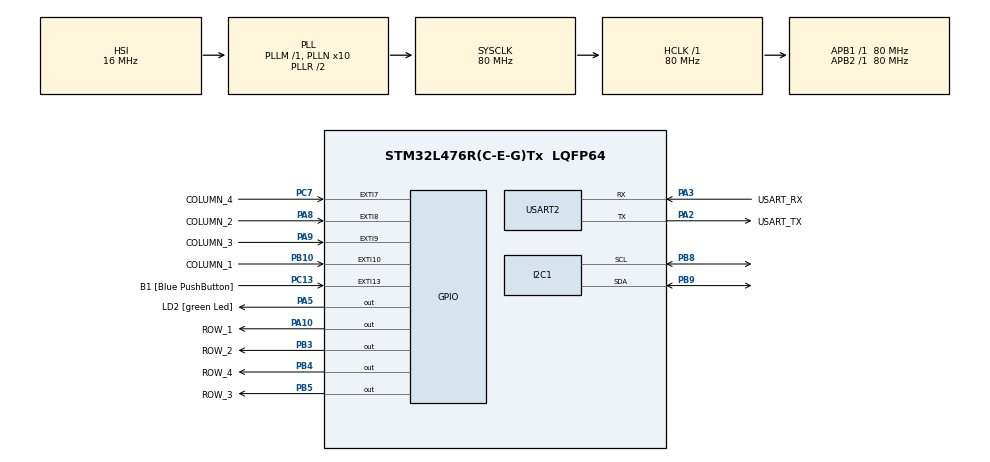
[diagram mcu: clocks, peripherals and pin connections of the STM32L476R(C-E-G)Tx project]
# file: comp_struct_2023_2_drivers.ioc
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I2C1.Timing=0x10909CEC
Mcu.Family=STM32L4
Mcu.Name=STM32L476R(C-E-G)Tx
Mcu.Package=LQFP64
NVIC.EXTI15_10_IRQn=true\:0\:0\:false\:false\:true\:true\:true\:true
NVIC.EXTI9_5_IRQn=true\:0\:0\:false\:false\:true\:true\:true\:true
NVIC.PriorityGroup=NVIC_PRIORITYGROUP_4
NVIC.USART2_IRQn=true\:0\:0\:false\:false\:true\:true\:true\:true
PA10.GPIO_Label=ROW_1
PA10.Signal=GPIO_Output
PA13\ (JTMS-SWDIO).GPIO_Label=TMS
PA13\ (JTMS-SWDIO).Mode=Serial_Wire
PA13\ (JTMS-SWDIO).Signal=SYS_JTMS-SWDIO
PA14\ (JTCK-SWCLK).GPIO_Label=TCK
PA14\ (JTCK-SWCLK).Mode=Serial_Wire
PA14\ (JTCK-SWCLK).Signal=SYS_JTCK-SWCLK
PA2.GPIO_Label=USART_TX
PA2.GPIO_Mode=GPIO_MODE_AF_PP
PA2.GPIO_PuPd=GPIO_NOPULL
PA2.GPIO_Speed=GPIO_SPEED_FREQ_VERY_HIGH
PA2.Mode=Asynchronous
PA2.Signal=USART2_TX
PA3.GPIO_Label=USART_RX
PA3.GPIO_Mode=GPIO_MODE_AF_PP
PA3.GPIO_PuPd=GPIO_NOPULL
PA3.GPIO_Speed=GPIO_SPEED_FREQ_VERY_HIGH
PA3.Mode=Asynchronous
PA3.Signal=USART2_RX
PA5.GPIO_Label=LD2 [green Led]
PA5.GPIO_ModeDefaultOutputPP=GPIO_MODE_OUTPUT_PP
PA5.GPIO_PuPd=GPIO_NOPULL
PA5.GPIO_Speed=GPIO_SPEED_FREQ_LOW
PA5.Signal=GPIO_Output
PA8.GPIO_Label=COLUMN_2
PA8.GPIO_PuPd=GPIO_PULLDOWN
PA8.Signal=GPXTI8
PA9.GPIO_Label=COLUMN_3
PA9.GPIO_PuPd=GPIO_PULLDOWN
PA9.Signal=GPXTI9
PB10.GPIO_Label=COLUMN_1
PB10.GPIO_PuPd=GPIO_PULLDOWN
PB10.Signal=GPXTI10
PB3\ (JTDO-TRACESWO).GPIO_Label=ROW_2
PB3\ (JTDO-TRACESWO).Signal=GPIO_Output
PB4\ (NJTRST).GPIO_Label=ROW_4
PB4\ (NJTRST).Signal=GPIO_Output
PB5.GPIO_Label=ROW_3
PB5.Signal=GPIO_Output
PB8.Mode=I2C
PB8.Signal=I2C1_SCL
PB9.Mode=I2C
PB9.Signal=I2C1_SDA
PC13.GPIO_Label=B1 [Blue PushButton]
PC13.GPIO_ModeDefaultEXTI=GPIO_MODE_IT_FALLING
PC13.GPIO_PuPd=GPIO_NOPULL
PC13.Signal=GPXTI13
PC14-OSC32_IN\ (PC14).Mode=LSE-External-Oscillator
PC14-OSC32_IN\ (PC14).Signal=RCC_OSC32_IN
PC15-OSC32_OUT\ (PC15).Mode=LSE-External-Oscillator
PC15-OSC32_OUT\ (PC15).Signal=RCC_OSC32_OUT
PC7.GPIO_Label=COLUMN_4
PC7.GPIO_PuPd=GPIO_PULLDOWN
PC7.Signal=GPXTI7
PH0-OSC_IN\ (PH0).Signal=RCC_OSC_IN
PH1-OSC_OUT\ (PH1).Signal=RCC_OSC_OUT
ProjectManager.HeapSize=0x200
ProjectManager.StackSize=0x400
ProjectManager.TargetToolchain=STM32CubeIDE
RCC.ADCFreq_Value=64000000
RCC.AHBFreq_Value=80000000
RCC.APB1Freq_Value=80000000
RCC.APB1TimFreq_Value=80000000
RCC.APB2Freq_Value=80000000
RCC.APB2TimFreq_Value=80000000
RCC.CortexFreq_Value=80000000
RCC.HCLKFreq_Value=80000000
RCC.HSE_VALUE=8000000
RCC.HSI_VALUE=16000000
RCC.MSI_VALUE=4000000
RCC.PLLN=10
RCC.PLLSourceVirtual=RCC_PLLSOURCE_HSI
RCC.PREFETCH_ENABLE=1
RCC.SYSCLKFreq_VALUE=80000000
RCC.SYSCLKSource=RCC_SYSCLKSOURCE_PLLCLK
RCC.USBFreq_Value=64000000
RCC.VCOOutputFreq_Value=160000000
USART2.VirtualMode-Asynchronous=VM_ASYNC
board=NUCLEO-L476RG

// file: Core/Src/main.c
/* USER CODE BEGIN Header */
/**
  ******************************************************************************
  * @file           : main.c
  * @brief          : Main program body
  ******************************************************************************
  * @attention
  *
  * Copyright (c) 2023 STMicroelectronics.
  * All rights reserved.
  *
  * This software is licensed under terms that can be found in the LICENSE file
  * in the root directory of this software component.
  * If no LICENSE file comes with this software, it is provided AS-IS.
  *
  ******************************************************************************
  */
/* USER CODE END Header */
#include "main.h"

/* USER CODE BEGIN Includes */
#include <stdio.h>

#include "ring_buffer.h"

#include "ssd1306.h"
#include "ssd1306_fonts.h"
/* USER CODE END Includes */

I2C_HandleTypeDef hi2c1;

UART_HandleTypeDef huart2;

/* USER CODE BEGIN PV */
uint8_t rx_buffer[16];
ring_buffer_t ring_buffer_uart_rx;
uint16_t key_event = 0xFF;
uint8_t rx_data;
uint8_t count = 0;
uint16_t memory[5];

/* USER CODE END PV */

void SystemClock_Config(void);
static void MX_GPIO_Init(void);
static void MX_USART2_UART_Init(void);
static void MX_I2C1_Init(void);

/* USER CODE BEGIN 0 */

int _write(int file, char *ptr, int len)
{
  HAL_UART_Transmit(&huart2, (uint8_t *)ptr, len, HAL_MAX_DELAY);
  return len;
}
/**
  * @brief  Rx Transfer completed callback.
  * @param  huart UART handle.
  * @retval None
  */
void HAL_UART_RxCpltCallback(UART_HandleTypeDef *huart)
{
	if (ring_buffer_put(&ring_buffer_uart_rx, rx_data) == 0) {
		printf("Rx buffer is full\r\n");
	}

	HAL_UART_Receive_IT(&huart2, &rx_data, 1);
}
void HAL_GPIO_EXTI_Callback(uint16_t GPIO_Pin)
{
	key_event = GPIO_Pin;
}
void keypad_init(void)
{
	/* Set the rows high to be detected in the columns by rising interrupt */
	ROW_1_GPIO_Port->BSRR = ROW_1_Pin;
	ROW_2_GPIO_Port->BSRR = ROW_2_Pin;
	ROW_3_GPIO_Port->BSRR = ROW_3_Pin;
	ROW_4_GPIO_Port->BSRR = ROW_4_Pin;
}
uint8_t keypad_handler(uint16_t column_to_evaluate)
{
	uint8_t key_pressed = 0xFF; // Value to return

	/*** Debounce the key press (remove noise in the key) ***/
#define KEY_DEBOUNCE_MS 300 /*!> Minimum time required for since last press */
	static uint32_t last_pressed_tick = 0;
	if (HAL_GetTick() <= (last_pressed_tick + KEY_DEBOUNCE_MS)) {
		// less than KEY_DEBOUNCE_MS since last press. Probably noise
		return key_pressed; // return 0xFF
	}
	last_pressed_tick = HAL_GetTick();

	/*** Check in which column the event happened ***/
	switch (column_to_evaluate) {
	case COLUMN_1_Pin:
		ROW_1_GPIO_Port->BSRR = ROW_1_Pin; // turn on row 1
		ROW_2_GPIO_Port->BRR = ROW_2_Pin;  // turn off row 2
		ROW_3_GPIO_Port->BRR = ROW_3_Pin;  // turn off row 3
		ROW_4_GPIO_Port->BRR = ROW_4_Pin;  // turn off row 4
		HAL_Delay(2); // wait for voltage to establish
		if (COLUMN_1_GPIO_Port->IDR & COLUMN_1_Pin) {
			key_pressed = 0x01; // if column 1 is still high -> column 1 + row 1 = key 1

		}

		ROW_1_GPIO_Port->BRR = ROW_1_Pin; 	// turn off row 1
		ROW_2_GPIO_Port->BSRR = ROW_2_Pin; 	// turn on row 2
		HAL_Delay(2); // wait for voltage to establish
		if (COLUMN_1_GPIO_Port->IDR & COLUMN_1_Pin) {
			key_pressed = 0x04; // if column 1 is still high -> column 1 + row 2 = key 4

		}

		ROW_2_GPIO_Port->BRR = ROW_2_Pin; 	// turn off row 2
		ROW_3_GPIO_Port->BSRR = ROW_3_Pin; 	// turn on row 3
		HAL_Delay(2); // wait for voltage to establish
		if (COLUMN_1_GPIO_Port->IDR & COLUMN_1_Pin) {
			key_pressed = 0x07; // if column 1 is still high -> column 1 + row 3 = key 7

		}

		ROW_3_GPIO_Port->BRR = ROW_3_Pin;	// turn off row 3
		ROW_4_GPIO_Port->BSRR = ROW_4_Pin; 	// turn on row 4
		HAL_Delay(2); // wait for voltage to establish
		if (COLUMN_1_GPIO_Port->IDR & COLUMN_1_Pin) {
			key_pressed = 0x0E; // if column 1 is still high -> column 1 + row 4 = key *

		}
	  break;

	case COLUMN_2_Pin:
		ROW_1_GPIO_Port->BSRR = ROW_1_Pin; // turn on row 1
		ROW_2_GPIO_Port->BRR = ROW_2_Pin;  // turn off row 2
		ROW_3_GPIO_Port->BRR = ROW_3_Pin;  // turn off row 3
		ROW_4_GPIO_Port->BRR = ROW_4_Pin;  // turn off row 4
		HAL_Delay(2); // wait for voltage to establish
		if (COLUMN_2_GPIO_Port->IDR & COLUMN_2_Pin) {
			key_pressed = 0x02; // if column 1 is still high -> column 1 + row 1 = key 1
		}

		ROW_1_GPIO_Port->BRR = ROW_1_Pin; 	// turn off row 1
		ROW_2_GPIO_Port->BSRR = ROW_2_Pin; 	// turn on row 2
		HAL_Delay(2); // wait for voltage to establish
		if (COLUMN_2_GPIO_Port->IDR & COLUMN_2_Pin) {
			key_pressed = 0x05; // if column 1 is still high -> column 1 + row 2 = key 4
		}

		ROW_2_GPIO_Port->BRR = ROW_2_Pin; 	// turn off row 2
		ROW_3_GPIO_Port->BSRR = ROW_3_Pin; 	// turn on row 3
		HAL_Delay(2); // wait for voltage to establish
		if (COLUMN_2_GPIO_Port->IDR & COLUMN_2_Pin) {
			key_pressed = 0x08; // if column 1 is still high -> column 1 + row 3 = key 7
		}

		ROW_3_GPIO_Port->BRR = ROW_3_Pin;	// turn off row 3
		ROW_4_GPIO_Port->BSRR = ROW_4_Pin; 	// turn on row 4
		HAL_Delay(2); // wait for voltage to establish
		if (COLUMN_2_GPIO_Port->IDR & COLUMN_2_Pin) {
			key_pressed = 0x00; // if column 1 is still high -> column 1 + row 4 = key *
		}
	  break;

	case COLUMN_3_Pin:
		ROW_1_GPIO_Port->BSRR = ROW_1_Pin; // turn on row 1
		ROW_2_GPIO_Port->BRR = ROW_2_Pin;  // turn off row 2
		ROW_3_GPIO_Port->BRR = ROW_3_Pin;  // turn off row 3
		ROW_4_GPIO_Port->BRR = ROW_4_Pin;  // turn off row 4
		HAL_Delay(2); // wait for voltage to establish
		if (COLUMN_3_GPIO_Port->IDR & COLUMN_3_Pin) {
			key_pressed = 0x03; // if column 1 is still high -> column 1 + row 1 = key 1
		}

		ROW_1_GPIO_Port->BRR = ROW_1_Pin; 	// turn off row 1
		ROW_2_GPIO_Port->BSRR = ROW_2_Pin; 	// turn on row 2
		HAL_Delay(2); // wait for voltage to establish
		if (COLUMN_3_GPIO_Port->IDR & COLUMN_3_Pin) {
			key_pressed = 0x06; // if column 1 is still high -> column 1 + row 2 = key 4
		}

		ROW_2_GPIO_Port->BRR = ROW_2_Pin; 	// turn off row 2
		ROW_3_GPIO_Port->BSRR = ROW_3_Pin; 	// turn on row 3
		HAL_Delay(2); // wait for voltage to establish
		if (COLUMN_3_GPIO_Port->IDR & COLUMN_3_Pin) {
			key_pressed = 0x09; // if column 1 is still high -> column 1 + row 3 = key 7
		}

		ROW_3_GPIO_Port->BRR = ROW_3_Pin;	// turn off row 3
		ROW_4_GPIO_Port->BSRR = ROW_4_Pin; 	// turn on row 4
		HAL_Delay(2); // wait for voltage to establish
		if (COLUMN_3_GPIO_Port->IDR & COLUMN_3_Pin) {
			key_pressed = 0x0F; // if column 1 is still high -> column 1 + row 4 = key *;
		}
	  break;

	case COLUMN_4_Pin:
		ROW_1_GPIO_Port->BSRR = ROW_1_Pin; // turn on row 1
		ROW_2_GPIO_Port->BRR = ROW_2_Pin;  // turn off row 2
		ROW_3_GPIO_Port->BRR = ROW_3_Pin;  // turn off row 3
		ROW_4_GPIO_Port->BRR = ROW_4_Pin;  // turn off row 4
		HAL_Delay(2); // wait for voltage to establish
		if (COLUMN_4_GPIO_Port->IDR & COLUMN_4_Pin) {
			key_pressed = 0x0A; // if column 1 is still high -> column 1 + row 1 = key 1
		}

		ROW_1_GPIO_Port->BRR = ROW_1_Pin; 	// turn off row 1
		ROW_2_GPIO_Port->BSRR = ROW_2_Pin; 	// turn on row 2
		HAL_Delay(2); // wait for voltage to establish
		if (COLUMN_4_GPIO_Port->IDR & COLUMN_4_Pin) {
			key_pressed = 0x0B; // if column 1 is still high -> column 1 + row 2 = key 4
		}

		ROW_2_GPIO_Port->BRR = ROW_2_Pin; 	// turn off row 2
		ROW_3_GPIO_Port->BSRR = ROW_3_Pin; 	// turn on row 3
		HAL_Delay(2); // wait for voltage to establish
		if (COLUMN_4_GPIO_Port->IDR & COLUMN_4_Pin) {
			key_pressed = 0x0C; // if column 1 is still high -> column 1 + row 3 = key 7
		}

		ROW_3_GPIO_Port->BRR = ROW_3_Pin;	// turn off row 3
		ROW_4_GPIO_Port->BSRR = ROW_4_Pin; 	// turn on row 4
		HAL_Delay(2); // wait for voltage to establish
		if (COLUMN_4_GPIO_Port->IDR & COLUMN_4_Pin) {
			key_pressed = 0x0D; // if column 1 is still high -> column 1 + row 4 = key *
		}
	  break;
	/*!\ TODO: Implement other column cases here */

	default:
		/* This should not be reached */
		printf("Unknown column: %x\r\n", column_to_evaluate);
	  break;
	}

	keypad_init(); // set the columns high again
	return key_pressed; // invalid: 0xFF, valid:[0x00-0x0F]
}
/* USER CODE END 0 */

int main(void)
{

  /* MCU Configuration--------------------------------------------------------*/

  /* Reset of all peripherals, Initializes the Flash interface and the Systick. */
  HAL_Init();

  /* Configure the system clock */
  SystemClock_Config();

  /* Initialize all configured peripherals */
  MX_GPIO_Init();
  MX_USART2_UART_Init();
  MX_I2C1_Init();
  /* USER CODE BEGIN 2 */
  ring_buffer_init(&ring_buffer_uart_rx, rx_buffer, 16);
  keypad_init(); // Initialize the keypad functionality
  HAL_UART_Receive_IT(&huart2, &rx_data, 1);

  ssd1306_Init();
  ssd1306_Fill(Black);
  ssd1306_SetCursor(20, 20);
  ssd1306_WriteString("<3 Yxy0 <3", Font_7x10, White);
  ssd1306_UpdateScreen();
  /* USER CODE END 2 */

  /* Infinite loop */
  /* USER CODE BEGIN WHILE */
  while (1)
  {
	  // It is entered each time a keyboard key is pressed
	  if (key_event != 0xFF) { // check if there is a event from the EXTi callback
	 		  uint16_t key_pressed = keypad_handler(key_event); // call the keypad handler
	 		  if (key_pressed != 0xFF) {
	 			  printf("Key pressed: %x\r\n", key_pressed); // print the key pressed

	 			  // save the four digits of the key and press '#' to finish reading and proceed with the verification.
	 			  if (memory[4] != 0x0F){
	 			  memory[count] = key_pressed;
	 			  count = count + 1;}
	 		  	  }

	 		  	  // Validate if the key corresponds to the year of birth.
	 		  	  // It is validated by pressing the # key to complete the 5 keys pressed.
	 		  	  if (memory[4] == 0x0F){
	 		  		  // It is verified if the values ​​entered match the year of birth (2001), if correct, Pass is printed on the screen.
	 		  		  if (memory[0] == 0x02 && memory[1] == 0x00 && memory[2] == 0x00 && memory[3] == 0x01){
	 		  			  ssd1306_Init();
	 		  			  ssd1306_Fill(Black);
	 		  			  ssd1306_SetCursor(20, 20);
	 		  			  ssd1306_WriteString("Pass", Font_7x10, White);
	 		  			  ssd1306_UpdateScreen();
	 		  			  // Otherwise Fail is printed on the screen.
	 		  		  } else {
	 		  			  ssd1306_Init();
	 		  			  ssd1306_Fill(Black);
	 		  			  ssd1306_SetCursor(20, 20);
	 		  			  ssd1306_WriteString("Fail", Font_7x10, White);
	 		  			  ssd1306_UpdateScreen();
	 		  		  	  	  }
	 		  	  	  }
	 		  	  // If the fifth press is not the #, an error is marked and a reset is required.
	 		  	  if (count == 5 && memory[4] != 0x0F ){
	 		  		ssd1306_Init();
	 		  		ssd1306_Fill(Black);
	 		  		ssd1306_SetCursor(10, 20);
	 		  		ssd1306_WriteString("Error - Reset ", Font_7x10, White);
	 		  		ssd1306_UpdateScreen();
	 		  	  }
	 		  	  // Once the data has been entered and it has been verified whether the key is correct or not, press '*' to enter a key again.
	 		  	  if (key_pressed == 0x0E){
	 		  		  for (uint8_t i = 0; i < 5 ; i++){
	 		  			  memory[i]= 0;
	 		  			  count = 0;
	 		  		  }
	 		  		  //show on the screen that the key is entered.
	 		  		  ssd1306_Init();
	 		  		  ssd1306_Fill(Black);
	 		  		  ssd1306_SetCursor(20, 20);
	 		  		  ssd1306_WriteString("Enter key", Font_7x10, White);
	 		  		  ssd1306_UpdateScreen();
	 		  	  }
	 		  key_event = 0xFF; // clean the event

	  	  }

  }
    /* USER CODE END WHILE */

}

void SystemClock_Config(void)
{
  RCC_OscInitTypeDef RCC_OscInitStruct = {0};
  RCC_ClkInitTypeDef RCC_ClkInitStruct = {0};

  /** Configure the main internal regulator output voltage
  */
  if (HAL_PWREx_ControlVoltageScaling(PWR_REGULATOR_VOLTAGE_SCALE1) != HAL_OK)
  {
    Error_Handler();
  }

  /** Initializes the RCC Oscillators according to the specified parameters
  * in the RCC_OscInitTypeDef structure.
  */
  RCC_OscInitStruct.OscillatorType = RCC_OSCILLATORTYPE_HSI;
  RCC_OscInitStruct.HSIState = RCC_HSI_ON;
  RCC_OscInitStruct.HSICalibrationValue = RCC_HSICALIBRATION_DEFAULT;
  RCC_OscInitStruct.PLL.PLLState = RCC_PLL_ON;
  RCC_OscInitStruct.PLL.PLLSource = RCC_PLLSOURCE_HSI;
  RCC_OscInitStruct.PLL.PLLM = 1;
  RCC_OscInitStruct.PLL.PLLN = 10;
  RCC_OscInitStruct.PLL.PLLP = RCC_PLLP_DIV7;
  RCC_OscInitStruct.PLL.PLLQ = RCC_PLLQ_DIV2;
  RCC_OscInitStruct.PLL.PLLR = RCC_PLLR_DIV2;
  if (HAL_RCC_OscConfig(&RCC_OscInitStruct) != HAL_OK)
  {
    Error_Handler();
  }

  /** Initializes the CPU, AHB and APB buses clocks
  */
  RCC_ClkInitStruct.ClockType = RCC_CLOCKTYPE_HCLK|RCC_CLOCKTYPE_SYSCLK
                              |RCC_CLOCKTYPE_PCLK1|RCC_CLOCKTYPE_PCLK2;
  RCC_ClkInitStruct.SYSCLKSource = RCC_SYSCLKSOURCE_PLLCLK;
  RCC_ClkInitStruct.AHBCLKDivider = RCC_SYSCLK_DIV1;
  RCC_ClkInitStruct.APB1CLKDivider = RCC_HCLK_DIV1;
  RCC_ClkInitStruct.APB2CLKDivider = RCC_HCLK_DIV1;

  if (HAL_RCC_ClockConfig(&RCC_ClkInitStruct, FLASH_LATENCY_4) != HAL_OK)
  {
    Error_Handler();
  }
}

static void MX_I2C1_Init(void)
{

  hi2c1.Instance = I2C1;
  hi2c1.Init.Timing = 0x10909CEC;
  hi2c1.Init.OwnAddress1 = 0;
  hi2c1.Init.AddressingMode = I2C_ADDRESSINGMODE_7BIT;
  hi2c1.Init.DualAddressMode = I2C_DUALADDRESS_DISABLE;
  hi2c1.Init.OwnAddress2 = 0;
  hi2c1.Init.OwnAddress2Masks = I2C_OA2_NOMASK;
  hi2c1.Init.GeneralCallMode = I2C_GENERALCALL_DISABLE;
  hi2c1.Init.NoStretchMode = I2C_NOSTRETCH_DISABLE;
  if (HAL_I2C_Init(&hi2c1) != HAL_OK)
  {
    Error_Handler();
  }

  /** Configure Analogue filter
  */
  if (HAL_I2CEx_ConfigAnalogFilter(&hi2c1, I2C_ANALOGFILTER_ENABLE) != HAL_OK)
  {
    Error_Handler();
  }

  /** Configure Digital filter
  */
  if (HAL_I2CEx_ConfigDigitalFilter(&hi2c1, 0) != HAL_OK)
  {
    Error_Handler();
  }

}

static void MX_USART2_UART_Init(void)
{

  huart2.Instance = USART2;
  huart2.Init.BaudRate = 115200;
  huart2.Init.WordLength = UART_WORDLENGTH_8B;
  huart2.Init.StopBits = UART_STOPBITS_1;
  huart2.Init.Parity = UART_PARITY_NONE;
  huart2.Init.Mode = UART_MODE_TX_RX;
  huart2.Init.HwFlowCtl = UART_HWCONTROL_NONE;
  huart2.Init.OverSampling = UART_OVERSAMPLING_16;
  huart2.Init.OneBitSampling = UART_ONE_BIT_SAMPLE_DISABLE;
  huart2.AdvancedInit.AdvFeatureInit = UART_ADVFEATURE_NO_INIT;
  if (HAL_UART_Init(&huart2) != HAL_OK)
  {
    Error_Handler();
  }

}

static void MX_GPIO_Init(void)
{
  GPIO_InitTypeDef GPIO_InitStruct = {0};

  /* GPIO Ports Clock Enable */
  __HAL_RCC_GPIOC_CLK_ENABLE();
  __HAL_RCC_GPIOH_CLK_ENABLE();
  __HAL_RCC_GPIOA_CLK_ENABLE();
  __HAL_RCC_GPIOB_CLK_ENABLE();

  /*Configure GPIO pin Output Level */
  HAL_GPIO_WritePin(GPIOA, LD2_Pin|ROW_1_Pin, GPIO_PIN_RESET);

  /*Configure GPIO pin Output Level */
  HAL_GPIO_WritePin(GPIOB, ROW_2_Pin|ROW_4_Pin|ROW_3_Pin, GPIO_PIN_RESET);

  /*Configure GPIO pin : B1_Pin */
  GPIO_InitStruct.Pin = B1_Pin;
  GPIO_InitStruct.Mode = GPIO_MODE_IT_FALLING;
  GPIO_InitStruct.Pull = GPIO_NOPULL;
  HAL_GPIO_Init(B1_GPIO_Port, &GPIO_InitStruct);

  /*Configure GPIO pins : LD2_Pin ROW_1_Pin */
  GPIO_InitStruct.Pin = LD2_Pin|ROW_1_Pin;
  GPIO_InitStruct.Mode = GPIO_MODE_OUTPUT_PP;
  GPIO_InitStruct.Pull = GPIO_NOPULL;
  GPIO_InitStruct.Speed = GPIO_SPEED_FREQ_LOW;
  HAL_GPIO_Init(GPIOA, &GPIO_InitStruct);

  /*Configure GPIO pin : COLUMN_1_Pin */
  GPIO_InitStruct.Pin = COLUMN_1_Pin;
  GPIO_InitStruct.Mode = GPIO_MODE_IT_RISING;
  GPIO_InitStruct.Pull = GPIO_PULLDOWN;
  HAL_GPIO_Init(COLUMN_1_GPIO_Port, &GPIO_InitStruct);

  /*Configure GPIO pin : COLUMN_4_Pin */
  GPIO_InitStruct.Pin = COLUMN_4_Pin;
  GPIO_InitStruct.Mode = GPIO_MODE_IT_RISING;
  GPIO_InitStruct.Pull = GPIO_PULLDOWN;
  HAL_GPIO_Init(COLUMN_4_GPIO_Port, &GPIO_InitStruct);

  /*Configure GPIO pins : COLUMN_2_Pin COLUMN_3_Pin */
  GPIO_InitStruct.Pin = COLUMN_2_Pin|COLUMN_3_Pin;
  GPIO_InitStruct.Mode = GPIO_MODE_IT_RISING;
  GPIO_InitStruct.Pull = GPIO_PULLDOWN;
  HAL_GPIO_Init(GPIOA, &GPIO_InitStruct);

  /*Configure GPIO pins : ROW_2_Pin ROW_4_Pin ROW_3_Pin */
  GPIO_InitStruct.Pin = ROW_2_Pin|ROW_4_Pin|ROW_3_Pin;
  GPIO_InitStruct.Mode = GPIO_MODE_OUTPUT_PP;
  GPIO_InitStruct.Pull = GPIO_NOPULL;
  GPIO_InitStruct.Speed = GPIO_SPEED_FREQ_LOW;
  HAL_GPIO_Init(GPIOB, &GPIO_InitStruct);

  /* EXTI interrupt init*/
  HAL_NVIC_SetPriority(EXTI9_5_IRQn, 0, 0);
  HAL_NVIC_EnableIRQ(EXTI9_5_IRQn);

  HAL_NVIC_SetPriority(EXTI15_10_IRQn, 0, 0);
  HAL_NVIC_EnableIRQ(EXTI15_10_IRQn);

}

void Error_Handler(void)
{
  __disable_irq();
  while (1)
  {
  }
}
